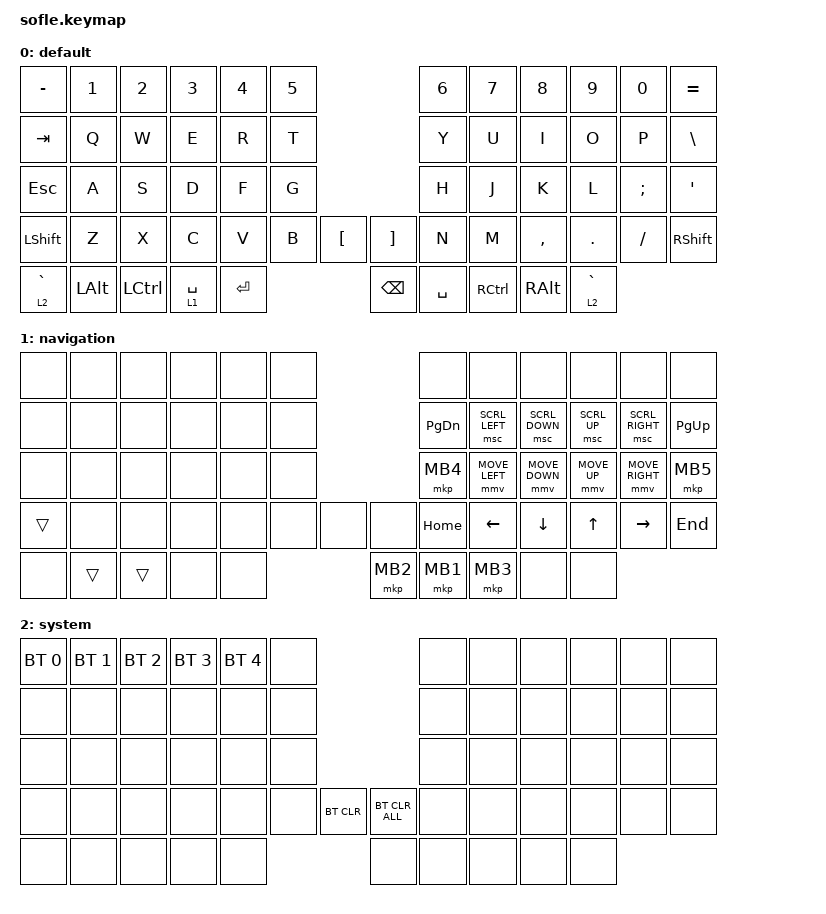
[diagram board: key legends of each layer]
#include <behaviors.dtsi>
#include <dt-bindings/zmk/bt.h>
#include <dt-bindings/zmk/ext_power.h>
#include <dt-bindings/zmk/keys.h>

// ==== MOUSE-KEY <section begins> ====

#define ZMK_POINTING_DEFAULT_MOVE_VAL 1800
#define ZMK_POINTING_DEFAULT_SCRL_VAL 15

#include <dt-bindings/zmk/pointing.h>

&mmv {
  acceleration-exponent = <1>;
  time-to-max-speed-ms = <500>;
  // delay-ms = <0>;
};

&msc {
  acceleration-exponent = <1>;
  time-to-max-speed-ms = <500>;
  // delay-ms = <0>;
};

// ==== MOUSE-KEY <section ends> =====

/ {
    behaviors {
        // ==== Home Row Mods <section begins> =====
        // TODO: Consider using the fast config for the thumb so that the mouse
        // and arrow layers are accessible faster.

        #define FAST_HOLDING_TIME 140
        #define SLOW_HOLDING_TIME 250

        // Index finger.
        mod_fast: hrm_mod_fast {
            compatible = "zmk,behavior-hold-tap";
            flavor = "tap-preferred";
            tapping-term-ms = <FAST_HOLDING_TIME>;
            #binding-cells = <2>;
            bindings = <&kp>, <&kp>;
        };

        // Middle finger.
        layer_fast: hrm_layer_fast {
            compatible = "zmk,behavior-hold-tap";
            flavor = "tap-preferred";
            tapping-term-ms = <FAST_HOLDING_TIME>;
            #binding-cells = <2>;
            bindings = <&mo>, <&kp>;
        };

        // Ring finger & pinky finger.
        mod_slow: hrm_mod_slow {
            compatible = "zmk,behavior-hold-tap";
            flavor = "tap-preferred";
            tapping-term-ms = <SLOW_HOLDING_TIME>;
            #binding-cells = <2>;
            bindings = <&kp>, <&kp>;
        };

        // Thumb.
        layer_slow: hrm_layer_slow {
            compatible = "zmk,behavior-hold-tap";
            flavor = "tap-preferred";
            tapping-term-ms = <SLOW_HOLDING_TIME>;
            #binding-cells = <2>;
            bindings = <&mo>, <&kp>;
        };
        // ==== Home Row Mods <section ends> =====
    };

    keymap {
        compatible = "zmk,keymap";
        default_layer {
            display-name = "default"; // 0

            bindings = <
&kp MINUS   &kp N1  &kp N2    &kp N3    &kp N4     &kp N5                                     &kp N6     &kp N7     &kp N8     &kp N9    &kp N0    &kp EQUAL
&kp TAB     &kp Q   &kp W     &kp E     &kp R      &kp T                                      &kp Y      &kp U      &kp I      &kp O     &kp P     &kp BSLH
&kp ESC     &kp A   &kp S     &kp D     &kp F      &kp G                                      &kp H      &kp J      &kp K      &kp L     &kp SEMI  &kp SQT
&kp LSHIFT  &kp Z   &kp X     &kp C     &kp V      &kp B      &kp LBKT    &kp RBKT            &kp N      &kp M      &kp COMMA  &kp DOT   &kp FSLH  &kp RSHFT
&layer_slow 2 GRAVE &kp LALT &kp LCTRL &layer_slow 1 SPACE  &kp RET                &kp BSPC &kp SPACE  &kp RCTRL  &kp RALT   &layer_slow 2 GRAVE
            >;
        };
        layer_navigation {
            display-name = "navigation"; // 1
            bindings = <
&none  &none &none &none  &none  &none                      &none     &none           &none           &none         &none           &none
&none  &none &none &none  &none  &none                      &kp PG_DN &msc SCRL_LEFT  &msc SCRL_DOWN  &msc SCRL_UP  &msc SCRL_RIGHT &kp PG_UP
&none  &none &none &none  &none  &none                      &mkp MB4  &mmv MOVE_LEFT  &mmv MOVE_DOWN  &mmv MOVE_UP  &mmv MOVE_RIGHT &mkp MB5
&trans &none &none &none  &none  &none &none      &none     &kp HOME  &kp LEFT        &kp DOWN        &kp UP        &kp RIGHT       &kp END
             &none &trans &trans &none &none      &mkp MB2  &mkp MB1  &mkp MB3        &none           &none
            >;
        };
        layer_system {
            display-name = "system"; // 2
            bindings = <
&bt BT_SEL 0  &bt BT_SEL 1  &bt BT_SEL 2  &bt BT_SEL 3  &bt BT_SEL 4 &none                              &none &none &none &none &none &none
&none         &none         &none         &none         &none        &none                              &none &none &none &none &none &none
&none         &none         &none         &none         &none        &none                              &none &none &none &none &none &none
&none         &none         &none         &none         &none        &none &bt BT_CLR    &bt BT_CLR_ALL &none &none &none &none &none &none
                            &none         &none         &none        &none &none         &none          &none &none &none &none
            >;
        };
    };
};
